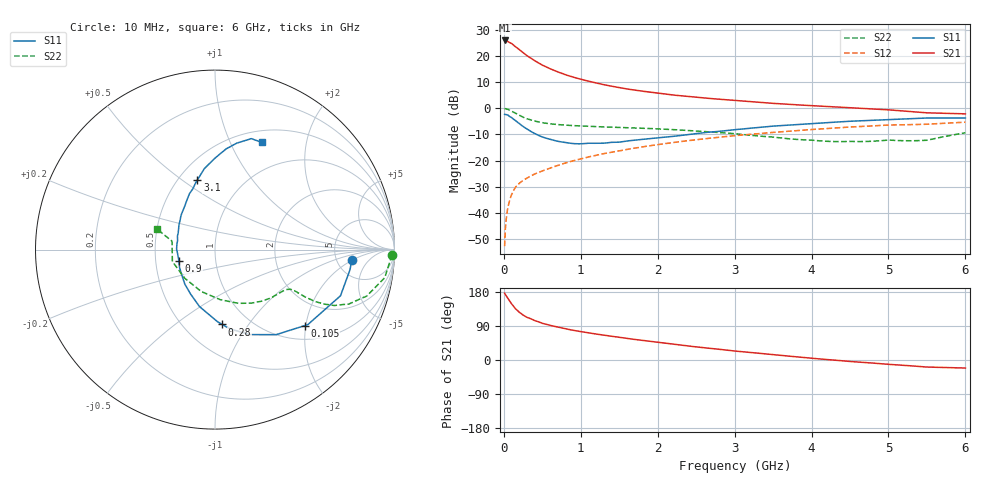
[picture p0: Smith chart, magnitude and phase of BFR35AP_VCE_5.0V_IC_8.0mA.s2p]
! Infineon Technologies  Discrete & RF Semiconductors
! BFR35AP
! VCE =  5.0 V,  IC =  8.0 mA
! Common Emitter S-Parameters:  Nov 2015
# GHz  S  MA  R  50
!  f  S11  S21  S12  S22
! GHz  MAG  ANG  MAG  ANG  MAG  ANG  MAG  ANG
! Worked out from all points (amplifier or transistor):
!   210 points, 10 MHz to 6 GHz, reference 50 ohm
!   highest |S21| = 25.9 dB at 10 MHz (marker M1)
!   |S21| within 3 dB of that: start of sweep to 178.6 MHz
!   unconditionally stable (mu >= 1): 664.6 MHz to 3.121 GHz
!   at 185 MHz: K = 0.49, MSG = 26.0 dB, |S12| = -29.2 dB
!   at 1.52 GHz: K = 1.11, MAG = 10.0 dB, |S12| = -16.2 dB
!   at 6 GHz: K = 0.93, MSG = 1.6 dB, |S12| = -5.3 dB
!   S11 on the Smith chart (normalised r, x): 10 MHz: 6.98, -1.88; 105 MHz: 1.33, -1.97; 280 MHz: 0.75, -0.76; 900 MHz: 0.66, -0.09; 3.1 GHz: 0.62, +0.57; 6 GHz: 0.64, +1.32
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0.01  0.7646 -4.2  19.79 176.3  0.0023 89.8  0.9886 -1.8
0.02  0.7604 -8.5  19.46 172.6  0.005 85.4  0.9773 -3.8
0.05  0.745 -20.2  18.99 163.0  0.0121 79.2  0.9586 -9.4
0.1  0.665 -38.9  17.35 148.2  0.0222 71.8  0.8844 -17.0
0.105  0.6549 -40.3  17.09 147.1  0.023 71.1  0.8762 -17.5
0.15  0.5836 -54.3  15.12 135.5  0.0307 66.4  0.8057 -22.1
0.17  0.5512 -59.3  14.33 132.0  0.0331 65.2  0.7769 -23.2
0.2  0.5115 -67.8  13.26 126.1  0.0366 63.6  0.7343 -25.1
0.24  0.4592 -77.0  11.88 120.1  0.0406 61.7  0.6847 -26.4
0.28  0.419 -84.5  10.69 115.2  0.0443 61.1  0.6458 -27.1
0.3  0.4014 -88.1  10.14 112.7  0.0461 61.0  0.6282 -27.4
0.4  0.329 -105.2  8.129 104.1  0.0551 60.9  0.5684 -27.7
0.5  0.282 -119.0  6.679 96.8  0.0631 61.3  0.5281 -27.5
0.7  0.2336 -142.2  4.964 86.6  0.0804 62.8  0.4869 -27.5
0.9  0.2109 -162.3  3.931 78.3  0.0988 63.2  0.4654 -28.4
1.02  0.2097 -174.2  3.523 74.2  0.1094 63.2  0.4567 -29.2
1.4  0.2228 159.9  2.634 62.6  0.1442 62.0  0.4352 -33.5
2.02  0.2739 132.5  1.923 46.1  0.2033 57.6  0.4012 -43.5
3.1  0.401 104.1  1.374 21.9  0.3075 46.4  0.315 -69.6
4.1  0.5197 88.7  1.099 2.9  0.4001 34.3  0.2383 -113.6
5.1  0.614 77.0  0.908 -12.7  0.4794 20.5  0.2418 -169.6
6  0.6517 66.5  0.781 -21.2  0.5416 10.1  0.3399 160.7
